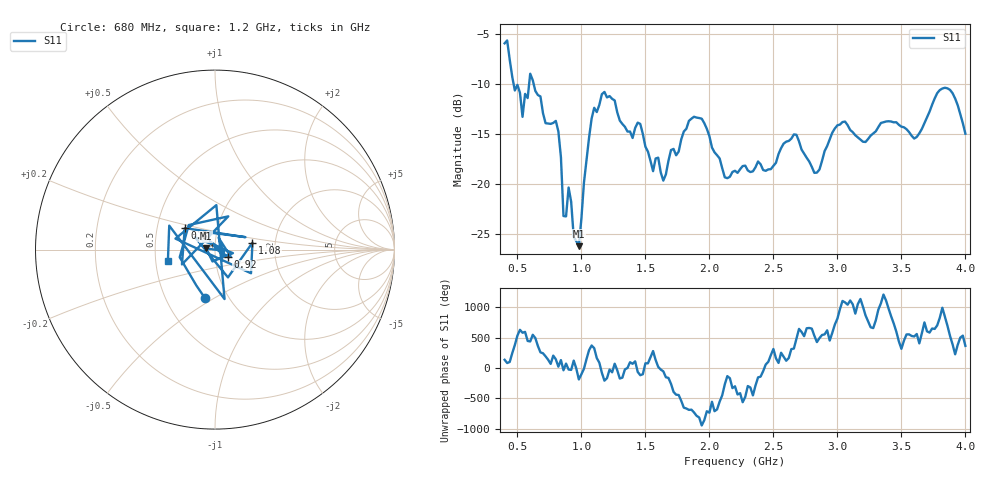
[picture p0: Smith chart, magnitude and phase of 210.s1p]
!Created with skrf (http://scikit-rf.org).
# Hz S RI R 50.0
!freq ReS11 ImS11
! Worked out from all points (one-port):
!   181 points, 400 MHz to 4 GHz, reference 50 ohm
!   lowest |S11| = -26.2 dB at 980 MHz (marker M1), VSWR 1.10, Z = 45.3 + j0.579 ohm
!   |S11| at or under -10 dB: 470 MHz to 591.8 MHz (121.8 MHz wide, 22.9 % of centre); 626.6 MHz to end of sweep
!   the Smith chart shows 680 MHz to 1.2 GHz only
!   S11 on the Smith chart (normalised r, x): 680 MHz: 0.78, -0.45; 800 MHz: 0.69, +0.17; 920 MHz: 1.15, -0.10; 1.08 GHz: 1.52, +0.12; 1.2 GHz: 0.58, -0.08
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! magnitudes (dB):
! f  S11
! 400 MHz  -6.0
! 540 MHz  -13.3
! 600 MHz  -9.0
! 680 MHz  -11.3
! 800 MHz  -13.7
! 840 MHz  -17.3
! 860 MHz  -23.2
! 900 MHz  -20.3
! 920 MHz  -21.8
! 940 MHz  -25.3
! 980 MHz  -26.2
! 1.08 GHz  -13.5
! 1.2 GHz  -11.4
! 1.3 GHz  -13.7
! 1.46 GHz  -14.0
! 1.64 GHz  -19.6
! 1.76 GHz  -16.8
! 1.94 GHz  -13.5
! 2.12 GHz  -19.3
! 2.2 GHz  -18.7
! 2.48 GHz  -18.5
! 2.66 GHz  -15.0
! 2.82 GHz  -18.9
! 3 GHz  -14.1
! 3.1 GHz  -14.6
! 3.56 GHz  -14.8
! 3.84 GHz  -10.4
! 4 GHz  -15.0
